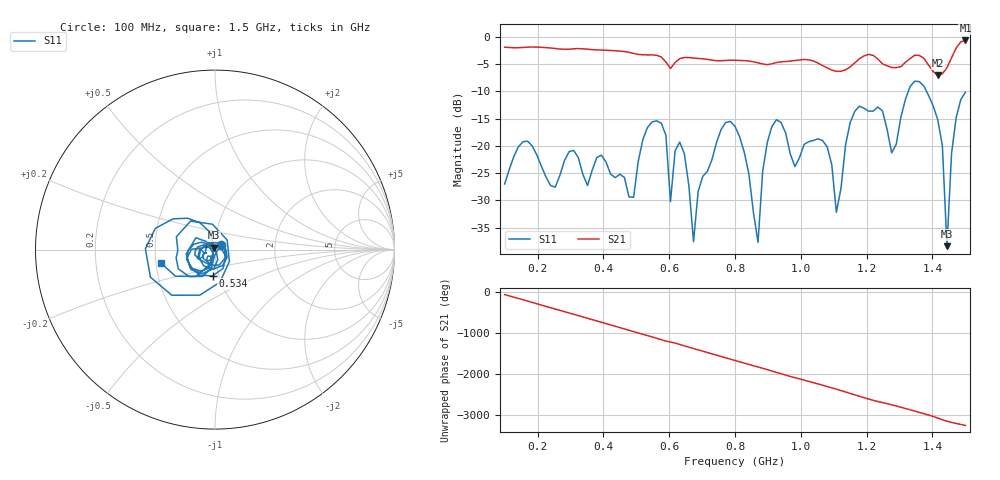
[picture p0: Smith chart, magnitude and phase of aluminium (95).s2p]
! NanoVNA-App
! Date: 2025-09-26 09:58:48
! Start: 100MHz Stop: 1,5GHz Points: 101
! S-Parameter data: F S11 S21 S12 S22
# Hz S RI R 50
!  Frequency  S11_Real  S11_Imag  S21_Real  S21_Imag  S12_Real  S12_Imag  S22_Real  S22_Imag
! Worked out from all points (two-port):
!   101 points, 100 MHz to 1.5 GHz, reference 50 ohm
!   highest |S21| = -0.69 dB at 1.5 GHz (marker M1); lowest = -7.1 dB at 1.416 GHz (marker M2)
!   |S21| within 3 dB of the highest: start of sweep to 574.4 MHz; 1.188 GHz to 1.226 GHz (38.04 MHz wide, 3.15 % of centre)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
!   lowest |S11| = -38.4 dB at 1.444 GHz (marker M3), VSWR 1.02, Z = 49.6 + j1.12 ohm
!   |S11| at or under -10 dB: start of sweep to 1.327 GHz; 1.382 GHz to end of sweep
!   S12 and S22 are empty: the file has one direction only
!   S11 on the Smith chart (normalised r, x): 100 MHz: 1.07, +0.06; 534 MHz: 0.93, -0.28; 1.5 GHz: 0.53, -0.09
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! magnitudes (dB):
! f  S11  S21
! 100 MHz  -27.0  -1.9
! 156 MHz  -19.2  -2.0
! 338 MHz  -25.3  -2.2
! 492 MHz  -29.4  -3.1
! 534 MHz  -16.6  -3.3
! 576 MHz  -15.8  -3.7
! 604 MHz  -30.2  -5.8
! 646 MHz  -21.4  -3.8
! 674 MHz  -37.6  -3.9
! 702 MHz  -25.6  -4.1
! 800 MHz  -16.4  -4.3
! 870 MHz  -37.7  -4.8
! 912 MHz  -16.5  -5.0
! 1.038 GHz  -19.0  -4.4
! 1.108 GHz  -32.2  -6.3
! 1.178 GHz  -12.7  -4.0
! 1.276 GHz  -21.3  -5.6
! 1.346 GHz  -8.2  -3.4
! 1.416 GHz  -15.2  -7.1
! 1.444 GHz  -38.4  -5.7
! 1.458 GHz  -21.4  -3.9
! 1.5 GHz  -10.2  -0.7
